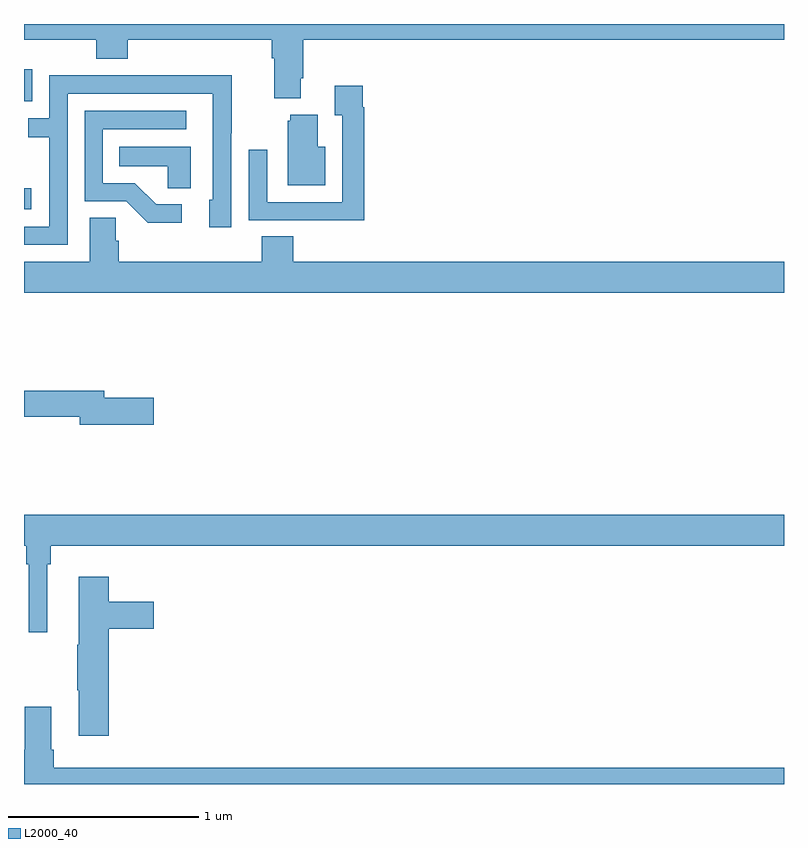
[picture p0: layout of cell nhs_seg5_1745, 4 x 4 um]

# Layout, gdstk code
import gdstk
lib = gdstk.Library(unit=1e-6, precision=1e-09)
def R(c, l, rs):  # rectangles x0, y0, x1, y1
    for r in rs: c.add(gdstk.rectangle(r[:2], r[2:], *l))
def P(c, l, *ps):  # polygons
    for p in ps: c.add(gdstk.Polygon(p, *l))
L2000_40 = (2000, 40)

nhs_seg5_1745 = lib.new_cell('nhs_seg5_1745')
R(nhs_seg5_1745, L2000_40, [(215,899.825,215.038,899.935), (215,900.393,215.043,900.562)])
P(nhs_seg5_1745, L2000_40, [(215,900.716),(215.381,900.716),(215.381,900.617),(215.546,900.617),(215.546,900.716),(216.305,900.716),(216.305,900.62),(216.317,900.62),(216.317,900.407),(216.457,900.407),(216.457,900.514),(216.47,900.514),(216.47,900.716),(219,900.716),(219,900.799),(215,900.799)],
  [(215.229,900.432),(215.994,900.432),(215.994,899.874),(215.975,899.874),(215.975,899.73),(216.09,899.73),(216.09,900.223),(216.093,900.223),(216.093,900.53),(215.629,900.53),(215.629,900.528),(215.133,900.528),(215.133,900.303),(215.023,900.303),(215.023,900.202),(215.133,900.202),(215.133,899.733),(215,899.733),(215,899.637),(215.229,899.637)],
  [(216.791,900.362),(216.784,900.362),(216.784,900.475),(216.635,900.475),(216.635,900.319),(216.675,900.319),(216.675,899.862),(216.279,899.862),(216.279,900.136),(216.183,900.136),(216.183,899.766),(216.499,899.766),(216.499,899.765),(216.791,899.765)],
  [(215.83,899.85),(215.695,899.85),(215.584,899.961),(215.415,899.961),(215.415,900.246),(215.854,900.246),(215.854,900.342),(215.319,900.342),(215.319,899.865),(215.538,899.865),(215.651,899.753),(215.83,899.753)],
  [(216.586,900.154),(216.547,900.154),(216.547,900.322),(216.401,900.322),(216.401,900.291),(216.389,900.291),(216.389,899.951),(216.586,899.951)],
  [(215.878,900.154),(215.5,900.154),(215.5,900.05),(215.757,900.05),(215.757,899.935),(215.878,899.935)],
  [(219,899.548),(216.416,899.548),(216.416,899.681),(216.251,899.681),(216.251,899.548),(215.498,899.548),(215.498,899.657),(215.484,899.657),(215.484,899.78),(215.345,899.78),(215.345,899.548),(215,899.548),(215,899.384),(219,899.384)],
  [(215.683,898.832),(215.422,898.832),(215.422,898.868),(215,898.868),(215,898.732),(215.294,898.732),(215.294,898.69),(215.683,898.69)],
  [(215.122,897.956),(215.141,897.956),(215.141,898.052),(219,898.052),(219,898.216),(215,898.216),(215,898.052),(215.012,898.052),(215.012,897.956),(215.025,897.956),(215.025,897.597),(215.122,897.597)],
  [(215.447,897.617),(215.683,897.617),(215.683,897.759),(215.447,897.759),(215.447,897.889),(215.288,897.889),(215.288,897.533),(215.281,897.533),(215.281,897.292),(215.288,897.292),(215.288,897.054),(215.447,897.054)],
  [(219,896.884),(215.156,896.884),(215.156,896.98),(215.143,896.98),(215.143,897.205),(215.003,897.205),(215.003,896.98),(215,896.98),(215,896.799),(219,896.799)])

lib.write_gds('nhs_seg5_1745.gds')
